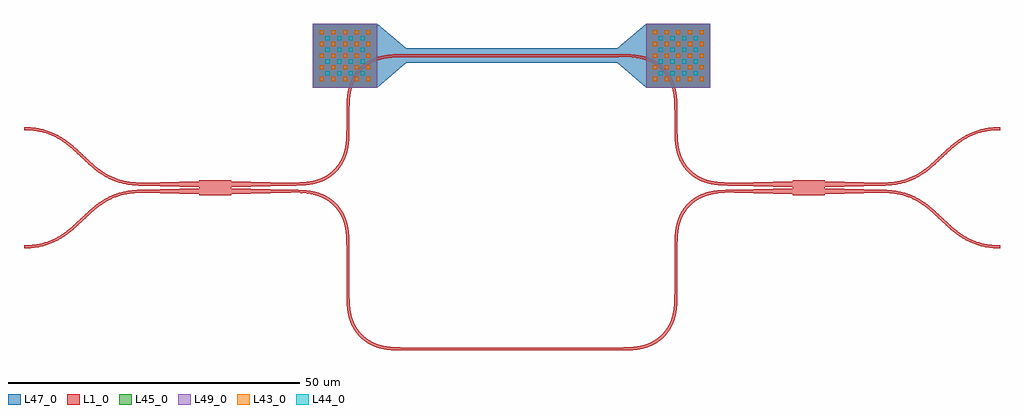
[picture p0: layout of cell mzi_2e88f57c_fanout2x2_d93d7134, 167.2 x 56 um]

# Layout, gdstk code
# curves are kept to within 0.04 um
from math import pi, radians
import gdstk
lib = gdstk.Library(unit=1e-6, precision=1e-09)
def R(c, l, rs):  # rectangles x0, y0, x1, y1
    for r in rs: c.add(gdstk.rectangle(r[:2], r[2:], *l))
def P(c, l, *ps):  # polygons
    for p in ps: c.add(gdstk.Polygon(p, *l))
L1_0 = (1, 0)
L43_0 = (43, 0)
L44_0 = (44, 0)
L45_0 = (45, 0)
L47_0 = (47, 0)
L49_0 = (49, 0)

mmi2x2 = lib.new_cell('mmi2x2')
R(mmi2x2, L1_0, [(0,-1.25,5.5,1.25)])
P(mmi2x2, L1_0, [(-10,-0.375),(0,-0.125),(0,-1.125),(-10,-0.875)],
  [(-10,0.875),(0,1.125),(0,0.125),(-10,0.375)],
  [(15.5,0.375),(5.5,0.125),(5.5,1.125),(15.5,0.875)],
  [(15.5,-0.875),(5.5,-1.125),(5.5,-0.125),(15.5,-0.375)])

bend_euler_9e0718a0 = lib.new_cell('bend_euler_9e0718a0')
P(bend_euler_9e0718a0, L1_0, [(0,-0.25),(2.724,-0.165),(3.761,-0.026),(4.739,0.201),(5.691,0.544),(6.428,0.918),(7.158,1.402),(7.859,2.003),(8.479,2.689),(9.033,3.488),(9.456,4.309),(9.799,5.261),(10.026,6.239),(10.165,7.276),(10.25,10),(9.75,10),(9.727,8.239),(9.634,7.004),(9.463,5.971),(9.18,4.971),(8.884,4.263),(8.508,3.59),(8.088,3),(7.575,2.425),(7,1.912),(6.41,1.492),(5.737,1.116),(5.029,0.82),(4.029,0.537),(2.996,0.366),(1.761,0.273),(0,0.25)])

straight_a4be237b = lib.new_cell('straight_a4be237b')
R(straight_a4be237b, L1_0, [(0,-0.25,7,0.25)])

straight_6870e926 = lib.new_cell('straight_6870e926')
R(straight_6870e926, L1_0, [(0,-0.25,0.1,0.25)])

straight_fba69bc3 = lib.new_cell('straight_fba69bc3')
R(straight_fba69bc3, L1_0, [(0,-0.25,2,0.25)])

straight_1aa74c1c = lib.new_cell('straight_1aa74c1c')
R(straight_1aa74c1c, L1_0, [(0,-0.25,18.05,0.25)])
R(straight_1aa74c1c, L47_0, [(0,-1.25,18.05,1.25)])

component_sequence_45111 = lib.new_cell('component_sequence_45111566')
component_sequence_45111.add(gdstk.Reference(straight_1aa74c1c, (0,0)))
component_sequence_45111.add(gdstk.Reference(straight_1aa74c1c, (18.05,0)))

compass_8277d85c = lib.new_cell('compass_8277d85c')
R(compass_8277d85c, L47_0, [(-5.5,-5.5,5.5,5.5)])

compass_6419de30 = lib.new_cell('compass_6419de30')
R(compass_6419de30, L45_0, [(-5.5,-5.5,5.5,5.5)])

compass_0253aeff = lib.new_cell('compass_0253aeff')
R(compass_0253aeff, L49_0, [(-5.5,-5.5,5.5,5.5)])

via_ebd8e362 = lib.new_cell('via_ebd8e362')
R(via_ebd8e362, L44_0, [(-0.35,-0.35,0.35,0.35)])

via_fd13653e = lib.new_cell('via_fd13653e')
R(via_fd13653e, L43_0, [(-0.35,-0.35,0.35,0.35)])

via_stack_02e7e014 = lib.new_cell('via_stack_02e7e014')
via_stack_02e7e014.add(gdstk.Reference(compass_8277d85c, (0,0)))
via_stack_02e7e014.add(gdstk.Reference(compass_6419de30, (0,0)))
via_stack_02e7e014.add(gdstk.Reference(compass_0253aeff, (0,0)))
r = gdstk.Reference(via_ebd8e362, (-3,-3)); r.repetition = gdstk.Repetition(4, 4, v1=(2,0), v2=(0,2)); via_stack_02e7e014.add(r)
r = gdstk.Reference(via_fd13653e, (-4,-4)); r.repetition = gdstk.Repetition(5, 5, v1=(2,0), v2=(0,2)); via_stack_02e7e014.add(r)

taper_13d39a01 = lib.new_cell('taper_13d39a01')
P(taper_13d39a01, L47_0, [(0,5.5),(5,1.25),(5,-1.25),(0,-5.5)])

straight_heater_metal_u_ = lib.new_cell('straight_heater_metal_u_82cff4ed')
straight_heater_metal_u_.add(gdstk.Reference(component_sequence_45111, (0,0)))
straight_heater_metal_u_.add(gdstk.Reference(via_stack_02e7e014, (-10.5,0)))
straight_heater_metal_u_.add(gdstk.Reference(via_stack_02e7e014, (46.6,0)))
straight_heater_metal_u_.add(gdstk.Reference(taper_13d39a01, (-5,0)))
straight_heater_metal_u_.add(gdstk.Reference(taper_13d39a01, (41.1,0), rotation=pi))

straight_fa3a3f2f = lib.new_cell('straight_fa3a3f2f')
R(straight_fa3a3f2f, L1_0, [(0,-0.25,0.09,0.25)])

straight_c804d8bd = lib.new_cell('straight_c804d8bd')
R(straight_c804d8bd, L1_0, [(0,-0.25,2,0.25)])

straight_4ae164bc = lib.new_cell('straight_4ae164bc')
R(straight_4ae164bc, L1_0, [(0,-0.25,0.01,0.25)])

straight_d494dd99 = lib.new_cell('straight_d494dd99')
R(straight_d494dd99, L1_0, [(0,-0.25,36.09,0.25)])

straight_32d14105 = lib.new_cell('straight_32d14105')
R(straight_32d14105, L1_0, [(0,-0.25,7,0.25)])

mzi_2e88f57c = lib.new_cell('mzi_2e88f57c')
mzi_2e88f57c.add(gdstk.Reference(mmi2x2, (0,0)))
mzi_2e88f57c.add(gdstk.Reference(mmi2x2, (107.2,0), rotation=pi, x_reflection=True))
mzi_2e88f57c.add(gdstk.Reference(bend_euler_9e0718a0, (15.5,-0.625), x_reflection=True))
mzi_2e88f57c.add(gdstk.Reference(straight_a4be237b, (25.5,-10.625), rotation=3*pi/2))
mzi_2e88f57c.add(gdstk.Reference(bend_euler_9e0718a0, (25.5,-17.625), rotation=3*pi/2))
mzi_2e88f57c.add(gdstk.Reference(straight_6870e926, (35.5,-27.625)))
mzi_2e88f57c.add(gdstk.Reference(bend_euler_9e0718a0, (15.5,0.625)))
mzi_2e88f57c.add(gdstk.Reference(straight_fba69bc3, (25.5,10.625), rotation=pi/2))
mzi_2e88f57c.add(gdstk.Reference(bend_euler_9e0718a0, (35.5,22.625), rotation=pi))
mzi_2e88f57c.add(gdstk.Reference(straight_heater_metal_u_, (35.5,22.625)))
mzi_2e88f57c.add(gdstk.Reference(bend_euler_9e0718a0, (71.69,22.625), x_reflection=True))
mzi_2e88f57c.add(gdstk.Reference(bend_euler_9e0718a0, (81.69,10.625), rotation=3*pi/2))
mzi_2e88f57c.add(gdstk.Reference(straight_fa3a3f2f, (71.6,22.625)))
mzi_2e88f57c.add(gdstk.Reference(straight_c804d8bd, (81.69,12.625), rotation=3*pi/2))
mzi_2e88f57c.add(gdstk.Reference(straight_4ae164bc, (91.69,0.625)))
mzi_2e88f57c.add(gdstk.Reference(bend_euler_9e0718a0, (71.69,-27.625)))
mzi_2e88f57c.add(gdstk.Reference(bend_euler_9e0718a0, (81.69,-10.625), rotation=pi/2, x_reflection=True))
mzi_2e88f57c.add(gdstk.Reference(straight_d494dd99, (35.6,-27.625)))
mzi_2e88f57c.add(gdstk.Reference(straight_32d14105, (81.69,-17.625), rotation=pi/2))
mzi_2e88f57c.add(gdstk.Reference(straight_4ae164bc, (91.69,-0.625)))

bezier_b0887ba8 = lib.new_cell('bezier_b0887ba8')
P(bezier_b0887ba8, L1_0, [(0,0.25),(1.666,0.347),(3.141,0.62),(4.452,1.045),(5.814,1.702),(6.868,2.377),(8.004,3.264),(11.043,6.066),(12.329,7.15),(13.562,8.009),(14.731,8.645),(16.03,9.161),(17.229,9.479),(18.548,9.68),(20,9.75),(20,9.25),(18.334,9.153),(16.63,8.819),(15.142,8.284),(13.825,7.584),(12.964,7.002),(11.996,6.236),(8.957,3.434),(7.838,2.481),(6.622,1.607),(5.269,0.855),(4.419,0.496),(3.504,0.199),(1.726,-0.15),(0,-0.25)])

mzi_2e88f57c_fanout2x2_d = lib.new_cell('mzi_2e88f57c_fanout2x2_d93d7134')
mzi_2e88f57c_fanout2x2_d.add(gdstk.Reference(mzi_2e88f57c, (0,-0.125)))
mzi_2e88f57c_fanout2x2_d.add(gdstk.Reference(bezier_b0887ba8, (117.2,0.5)))
mzi_2e88f57c_fanout2x2_d.add(gdstk.Reference(bezier_b0887ba8, (117.2,-0.75), x_reflection=True))
mzi_2e88f57c_fanout2x2_d.add(gdstk.Reference(bezier_b0887ba8, (-10,0.5), rotation=pi, x_reflection=True))
mzi_2e88f57c_fanout2x2_d.add(gdstk.Reference(bezier_b0887ba8, (-10,-0.75), rotation=pi))

lib.write_gds('mzi_2e88f57c_fanout2x2_d93d7134.gds')
